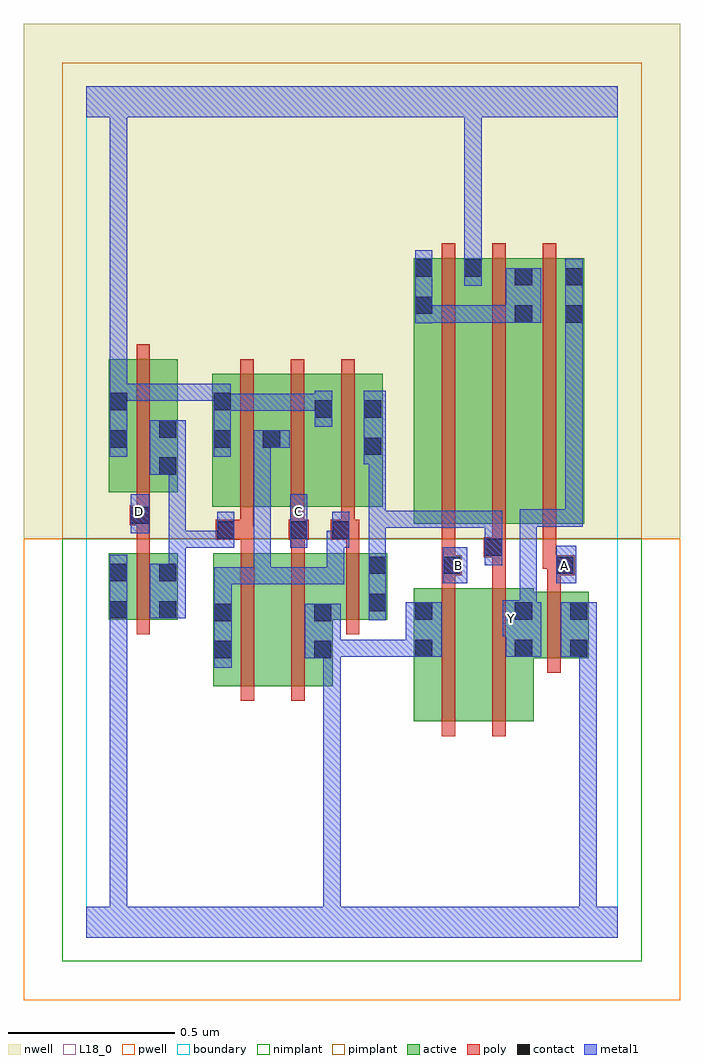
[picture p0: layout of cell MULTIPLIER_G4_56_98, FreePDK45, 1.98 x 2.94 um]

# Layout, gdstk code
import gdstk
lib = gdstk.Library(unit=1e-6, precision=1e-09)
def R(c, l, rs):  # rectangles x0, y0, x1, y1
    for r in rs: c.add(gdstk.rectangle(r[:2], r[2:], *l))
def A(c, l, x, y, w, h, nx, ny, dx, dy):  # array of equal rectangles
    R(c, l, [(x+i*dx, y+j*dy, x+i*dx+w, y+j*dy+h) for i in range(nx) for j in range(ny)])
active = (1, 0)
pwell = (2, 0)
nwell = (3, 0)
nimplant = (4, 0)
pimplant = (5, 0)
poly = (9, 0)
contact = (10, 0)
metal1 = (11, 0)
L18_0 = (18, 0)
boundary = (235, 0)

multiplier_g4_56_98 = lib.new_cell('MULTIPLIER_G4_56_98')
R(multiplier_g4_56_98, active, [(0.986,0.65,1.166,1.05), (1.166,0.65,1.346,1.05), (1.286,0.65,1.346,1.012), (0.382,0.756,0.562,1.156), (0.382,0.756,0.442,1.156), (0.562,0.756,0.742,1.156), (0.682,0.756,0.742,1.156), (0.986,0.756,1.046,1.05), (1.286,0.84,1.512,1.04), (1.452,0.84,1.512,1.04), (0.068,0.956,0.128,1.156), (0.068,0.956,0.276,1.156), (0.216,0.956,0.276,1.156), (0.682,0.956,0.906,1.156), (0.846,0.956,0.906,1.156), (0.986,1.244,1.046,2.044), (0.986,1.244,1.194,2.044), (1.134,1.244,1.346,2.044), (1.286,1.244,1.498,2.044), (1.438,1.244,1.498,2.044), (0.38,1.296,0.44,1.644), (0.38,1.296,0.588,1.696), (0.528,1.296,0.588,1.644), (0.528,1.296,0.744,1.696), (0.684,1.296,0.744,1.644), (0.684,1.296,0.892,1.696), (0.832,1.296,0.892,1.644), (0.068,1.34,0.276,1.74), (0.068,1.34,0.128,1.644), (0.216,1.34,0.276,1.644), (1.134,1.686,1.194,2.044), (1.286,1.686,1.346,2.044)])
R(multiplier_g4_56_98, pwell, [(-0.188,-0.188,1.788,1.2)])
R(multiplier_g4_56_98, nwell, [(-0.188,1.2,1.788,2.748)])
R(multiplier_g4_56_98, nimplant, [(-0.072,-0.072,1.672,1.2)])
R(multiplier_g4_56_98, pimplant, [(-0.072,1.2,1.672,2.632)])
A(multiplier_g4_56_98, poly, 1.07, 1.2, 0.04, 0.888, 3, 1, 0.152, 0)
A(multiplier_g4_56_98, poly, 0.464, 1.216, 0.04, 0.076, 3, 1, 0.152, 0)
A(multiplier_g4_56_98, poly, 0.464, 1.252, 0.04, 0.488, 3, 1, 0.152, 0)
R(multiplier_g4_56_98, poly, [(1.07,0.606,1.11,1.094), (1.222,0.606,1.262,1.094), (0.466,0.712,0.506,1.2), (0.618,0.712,0.658,1.2), (1.388,0.796,1.428,1.084), (0.152,0.912,0.192,1.2), (0.782,0.912,0.822,1.2), (1.388,1.044,1.428,1.13), (1.07,1.054,1.11,1.13), (1.222,1.054,1.262,1.184), (1.07,1.09,1.13,1.15), (1.388,1.09,1.47,1.15), (1.07,1.11,1.11,1.24), (1.07,1.11,1.11,1.15), (1.07,1.11,1.11,1.15), (1.374,1.11,1.414,1.24), (1.374,1.11,1.428,1.15), (1.388,1.11,1.428,1.15), (1.196,1.144,1.262,1.204), (1.222,1.144,1.262,1.184), (1.222,1.144,1.262,1.184), (0.152,1.16,0.192,1.28), (0.466,1.16,0.506,1.236), (0.618,1.16,0.658,1.236), (0.782,1.16,0.822,1.236), (1.222,1.164,1.262,1.24), (0.39,1.196,0.504,1.256), (0.464,1.196,0.504,1.236), (0.464,1.196,0.506,1.236), (0.61,1.196,0.67,1.256), (0.618,1.196,0.658,1.236), (0.618,1.196,0.658,1.236), (0.736,1.196,0.822,1.256), (0.768,1.216,0.808,1.256), (0.768,1.216,0.808,1.256), (0.132,1.24,0.192,1.3), (0.152,1.26,0.192,1.3), (0.152,1.26,0.192,1.3), (0.152,1.26,0.192,1.336), (0.152,1.296,0.192,1.784)])
R(multiplier_g4_56_98, contact, [(0.386,0.84,0.438,0.892), (0.686,0.84,0.738,0.892), (0.99,0.844,1.042,0.896), (1.29,0.844,1.342,0.896), (1.456,0.844,1.508,0.896), (0.386,0.952,0.438,1.004), (0.686,0.952,0.738,1.004), (0.99,0.956,1.042,1.008), (1.29,0.956,1.342,1.008), (1.456,0.956,1.508,1.008), (0.072,0.96,0.124,1.012), (0.22,0.96,0.272,1.012), (0.85,0.982,0.902,1.034), (0.072,1.072,0.124,1.124), (0.22,1.072,0.272,1.124), (0.85,1.094,0.902,1.146), (1.074,1.094,1.126,1.146), (1.414,1.094,1.466,1.146), (1.2,1.148,1.252,1.2), (0.394,1.2,0.446,1.252), (0.614,1.2,0.666,1.252), (0.74,1.2,0.792,1.252), (0.136,1.244,0.188,1.296), (0.22,1.392,0.272,1.444), (0.836,1.452,0.888,1.504), (0.072,1.474,0.124,1.526), (0.384,1.474,0.436,1.526), (0.532,1.474,0.584,1.526), (0.22,1.504,0.272,1.556), (0.688,1.564,0.74,1.616), (0.836,1.564,0.888,1.616), (0.072,1.586,0.124,1.638), (0.384,1.586,0.436,1.638), (1.29,1.85,1.342,1.902), (1.442,1.85,1.494,1.902), (0.99,1.876,1.042,1.928), (1.29,1.962,1.342,2.014), (1.442,1.962,1.494,2.014), (0.99,1.988,1.042,2.04), (1.138,1.988,1.19,2.04)])
R(multiplier_g4_56_98, metal1, [(0,0,1.6,0.092), (0.072,0.04,0.124,0.092), (0.072,0.04,0.124,0.092), (0.072,0.04,0.124,0.092), (0.072,0.04,0.124,0.092), (0.072,0.04,0.124,0.092), (0.072,0.04,0.124,0.092), (0.072,0.04,0.124,0.984), (0.714,0.04,0.766,0.092), (0.714,0.04,0.766,0.092), (0.714,0.04,0.766,0.092), (0.714,0.04,0.766,0.092), (0.714,0.04,0.766,0.092), (0.714,0.04,0.766,0.092), (0.714,0.04,0.766,0.092), (0.714,0.04,0.766,0.092), (0.714,0.04,0.766,0.892), (1.484,0.04,1.536,0.092), (1.484,0.04,1.536,0.092), (1.484,0.04,1.536,0.092), (1.484,0.04,1.536,0.092), (1.484,0.04,1.536,0.092), (1.484,0.04,1.536,0.092), (1.484,0.04,1.536,0.092), (1.484,0.04,1.536,0.092), (1.484,0.04,1.536,0.896), (0.386,0.812,0.438,1.032), (0.658,0.84,0.766,1.004), (0.714,0.84,0.766,0.892), (0.714,0.84,0.766,0.892), (0.714,0.84,0.766,0.892), (0.714,0.84,0.766,0.892), (0.714,0.844,0.766,0.896), (0.714,0.844,0.766,0.896), (0.714,0.844,1.014,0.896), (0.962,0.844,1.014,0.896), (0.962,0.844,1.014,0.896), (0.962,0.844,1.07,1.008), (1.262,0.844,1.37,1.008), (1.428,0.844,1.536,1.008), (1.484,0.844,1.536,0.896), (1.484,0.844,1.536,0.896), (1.484,0.844,1.536,0.896), (1.484,0.844,1.536,0.896), (1.484,0.844,1.536,0.896), (1.484,0.844,1.536,0.896), (1.484,0.844,1.536,0.896), (1.484,0.844,1.536,0.896), (1.254,0.906,1.356,1.014), (0.072,0.932,0.124,1.152), (0.072,0.932,0.124,0.984), (0.072,0.932,0.124,0.984), (0.072,0.932,0.124,0.984), (0.072,0.932,0.124,0.984), (0.072,0.932,0.124,0.984), (0.072,0.932,0.124,0.984), (0.072,0.932,0.124,0.984), (0.072,0.932,0.124,0.984), (0.072,0.932,0.124,0.984), (0.072,0.932,0.124,0.984), (0.85,0.954,0.902,1.174), (1.262,0.956,1.314,1.008), (0.192,0.96,0.3,1.124), (1.304,0.962,1.356,1.288), (0.386,0.98,0.438,1.114), (0.386,1.062,0.438,1.114), (0.386,1.062,0.438,1.114), (0.386,1.062,0.438,1.114), (0.386,1.062,0.556,1.114), (0.504,1.062,0.556,1.114), (0.504,1.062,0.556,1.114), (0.504,1.062,0.556,1.114), (0.504,1.062,0.776,1.114), (0.504,1.062,0.556,1.526), (0.724,1.062,0.776,1.224), (1.074,1.066,1.146,1.174), (1.414,1.066,1.474,1.178), (0.248,1.072,0.3,1.224), (1.2,1.12,1.252,1.284), (0.85,1.122,0.902,1.174), (0.85,1.122,0.902,1.174), (0.85,1.122,0.902,1.284), (0.248,1.172,0.3,1.224), (0.248,1.172,0.3,1.224), (0.248,1.172,0.3,1.224), (0.248,1.172,0.3,1.224), (0.248,1.172,0.3,1.224), (0.248,1.172,0.446,1.224), (0.248,1.172,0.3,1.444), (0.394,1.172,0.446,1.28), (0.614,1.172,0.666,1.334), (0.724,1.172,0.792,1.224), (0.74,1.172,0.792,1.28), (0.134,1.216,0.19,1.334), (0.85,1.232,0.902,1.284), (0.85,1.232,0.902,1.284), (0.85,1.232,0.902,1.284), (0.85,1.232,1.124,1.284), (0.85,1.232,0.902,1.476), (1.072,1.232,1.124,1.284), (1.072,1.232,1.152,1.284), (1.1,1.232,1.152,1.284), (1.1,1.232,1.252,1.284), (1.304,1.236,1.356,1.288), (1.304,1.236,1.362,1.288), (1.31,1.236,1.494,1.288), (1.31,1.236,1.362,1.288), (1.442,1.236,1.494,1.874), (1.442,1.236,1.494,1.288), (0.192,1.392,0.3,1.556), (0.836,1.424,0.902,1.644), (0.072,1.446,0.124,1.666), (0.384,1.446,0.436,1.666), (0.504,1.474,0.556,1.526), (0.504,1.474,0.556,1.526), (0.504,1.474,0.612,1.526), (0.688,1.536,0.74,1.644), (0.384,1.584,0.436,1.636), (0.384,1.584,0.436,1.636), (0.384,1.584,0.6,1.636), (0.548,1.584,0.6,1.636), (0.548,1.584,0.6,1.636), (0.548,1.584,0.6,1.636), (0.548,1.584,0.74,1.636), (0.072,1.614,0.124,1.666), (0.072,1.614,0.124,1.666), (0.072,1.614,0.124,1.666), (0.072,1.614,0.124,1.666), (0.072,1.614,0.326,1.666), (0.072,1.614,0.124,2.52), (0.274,1.614,0.326,1.666), (0.274,1.614,0.436,1.666), (1.442,1.822,1.494,2.042), (0.99,1.848,1.042,2.068), (0.99,1.85,1.124,1.902), (1.072,1.85,1.124,1.902), (1.072,1.85,1.152,1.902), (1.1,1.85,1.152,1.902), (1.1,1.85,1.234,1.902), (1.182,1.85,1.234,1.902), (1.182,1.85,1.314,1.902), (1.262,1.85,1.37,2.014), (1.138,1.96,1.19,2.068), (1.138,2.016,1.19,2.068), (1.138,2.016,1.19,2.068), (1.138,2.016,1.19,2.068), (1.138,2.016,1.19,2.068), (1.138,2.016,1.19,2.068), (1.138,2.016,1.19,2.068), (1.138,2.016,1.19,2.068), (1.138,2.016,1.19,2.068), (1.138,2.016,1.19,2.52), (0,2.468,1.6,2.56), (0.072,2.468,0.124,2.52), (0.072,2.468,0.124,2.52), (0.072,2.468,0.124,2.52), (0.072,2.468,0.124,2.52), (0.072,2.468,0.124,2.52), (0.072,2.468,0.124,2.52), (0.072,2.468,0.124,2.52), (0.072,2.468,0.124,2.52), (0.072,2.468,0.124,2.52), (0.072,2.468,0.124,2.52), (0.072,2.468,0.124,2.52), (0.072,2.468,0.124,2.52), (0.072,2.468,0.124,2.52), (0.072,2.468,0.124,2.52)])
R(multiplier_g4_56_98, L18_0, [(0,0,1.6,0.092), (0.072,0.04,0.124,0.092), (0.072,0.04,0.124,0.092), (0.072,0.04,0.124,0.092), (0.072,0.04,0.124,0.092), (0.072,0.04,0.124,0.092), (0.072,0.04,0.124,0.092), (0.072,0.04,0.124,0.984), (0.714,0.04,0.766,0.092), (0.714,0.04,0.766,0.092), (0.714,0.04,0.766,0.092), (0.714,0.04,0.766,0.092), (0.714,0.04,0.766,0.092), (0.714,0.04,0.766,0.092), (0.714,0.04,0.766,0.092), (0.714,0.04,0.766,0.092), (0.714,0.04,0.766,0.892), (1.484,0.04,1.536,0.092), (1.484,0.04,1.536,0.092), (1.484,0.04,1.536,0.092), (1.484,0.04,1.536,0.092), (1.484,0.04,1.536,0.092), (1.484,0.04,1.536,0.092), (1.484,0.04,1.536,0.092), (1.484,0.04,1.536,0.092), (1.484,0.04,1.536,0.896), (0.658,0.84,0.766,1.004), (0.714,0.84,0.766,0.892), (0.714,0.84,0.766,0.892), (0.714,0.84,0.766,0.892), (0.714,0.84,0.766,0.892), (0.714,0.844,0.766,0.896), (0.714,0.844,0.766,0.896), (0.714,0.844,1.014,0.896), (0.962,0.844,1.014,0.896), (0.962,0.844,1.014,0.896), (0.962,0.844,1.07,1.008), (1.262,0.844,1.37,1.008), (1.428,0.844,1.536,1.008), (1.484,0.844,1.536,0.896), (1.484,0.844,1.536,0.896), (1.484,0.844,1.536,0.896), (1.484,0.844,1.536,0.896), (1.484,0.844,1.536,0.896), (1.484,0.844,1.536,0.896), (1.484,0.844,1.536,0.896), (1.484,0.844,1.536,0.896), (1.254,0.906,1.356,1.014), (0.072,0.932,0.124,0.984), (0.072,0.932,0.124,0.984), (0.072,0.932,0.124,0.984), (0.072,0.932,0.124,0.984), (0.072,0.932,0.124,0.984), (0.072,0.932,0.124,0.984), (0.072,0.932,0.124,0.984), (0.072,0.932,0.124,0.984), (0.072,0.932,0.124,0.984), (0.072,0.932,0.124,0.984), (0.072,0.932,0.124,1.152), (1.254,0.934,1.306,0.986), (1.262,0.956,1.314,1.008), (1.304,0.962,1.356,1.288), (1.074,1.066,1.146,1.174), (1.414,1.066,1.474,1.178), (1.094,1.094,1.146,1.146), (1.414,1.094,1.466,1.146), (0.614,1.172,0.666,1.334), (0.134,1.216,0.19,1.334), (1.304,1.236,1.356,1.288), (1.304,1.236,1.362,1.288), (1.31,1.236,1.362,1.288), (1.31,1.236,1.494,1.288), (1.442,1.236,1.494,1.288), (1.442,1.236,1.494,1.874), (0.134,1.254,0.186,1.306), (0.614,1.254,0.666,1.306), (0.072,1.446,0.124,1.666), (0.384,1.446,0.436,1.666), (0.688,1.536,0.74,1.644), (0.384,1.584,0.436,1.636), (0.384,1.584,0.436,1.636), (0.384,1.584,0.6,1.636), (0.548,1.584,0.6,1.636), (0.548,1.584,0.6,1.636), (0.548,1.584,0.6,1.636), (0.548,1.584,0.74,1.636), (0.072,1.614,0.124,1.666), (0.072,1.614,0.124,1.666), (0.072,1.614,0.124,1.666), (0.072,1.614,0.124,1.666), (0.072,1.614,0.124,2.52), (0.072,1.614,0.326,1.666), (0.274,1.614,0.326,1.666), (0.274,1.614,0.436,1.666), (1.442,1.822,1.494,2.042), (1.138,1.96,1.19,2.068), (1.138,2.016,1.19,2.068), (1.138,2.016,1.19,2.068), (1.138,2.016,1.19,2.068), (1.138,2.016,1.19,2.068), (1.138,2.016,1.19,2.068), (1.138,2.016,1.19,2.068), (1.138,2.016,1.19,2.068), (1.138,2.016,1.19,2.068), (1.138,2.016,1.19,2.52), (0,2.468,1.6,2.56), (0.072,2.468,0.124,2.52), (0.072,2.468,0.124,2.52), (0.072,2.468,0.124,2.52), (0.072,2.468,0.124,2.52), (0.072,2.468,0.124,2.52), (0.072,2.468,0.124,2.52), (0.072,2.468,0.124,2.52), (0.072,2.468,0.124,2.52), (0.072,2.468,0.124,2.52), (0.072,2.468,0.124,2.52), (0.072,2.468,0.124,2.52), (0.072,2.468,0.124,2.52), (0.072,2.468,0.124,2.52), (0.072,2.468,0.124,2.52)])
R(multiplier_g4_56_98, boundary, [(0,0,1.6,2.56)])
multiplier_g4_56_98.add(gdstk.Label('A', (1.44,1.12), layer=11, texttype=0))
multiplier_g4_56_98.add(gdstk.Label('B', (1.12,1.12), layer=11, texttype=0))
multiplier_g4_56_98.add(gdstk.Label('C', (0.64,1.28), layer=11, texttype=0))
multiplier_g4_56_98.add(gdstk.Label('D', (0.16,1.28), layer=11, texttype=0))
multiplier_g4_56_98.add(gdstk.Label('Y', (1.28,0.96), layer=11, texttype=0))

lib.write_gds('MULTIPLIER_G4_56_98.gds')
